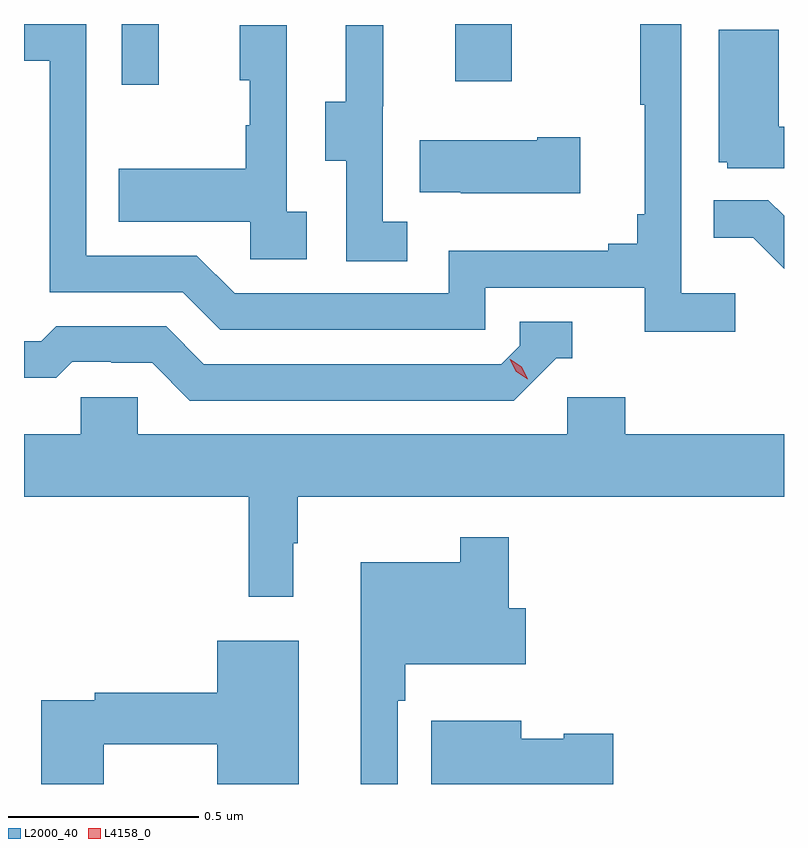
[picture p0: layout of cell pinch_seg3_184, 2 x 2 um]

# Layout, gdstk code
import gdstk
lib = gdstk.Library(unit=1e-6, precision=1e-09)
def R(c, l, rs):  # rectangles x0, y0, x1, y1
    for r in rs: c.add(gdstk.rectangle(r[:2], r[2:], *l))
def P(c, l, *ps):  # polygons
    for p in ps: c.add(gdstk.Polygon(p, *l))
L2000_40 = (2000, 40)
L4158_0 = (4158, 0)

pinch_seg3_184 = lib.new_cell('pinch_seg3_184')
R(pinch_seg3_184, L2000_40, [(995.607,741.96,995.705,742.12), (996.485,741.969,996.633,742.12)])
P(pinch_seg3_184, L2000_40, [(997.222,741.412),(997.08,741.412),(997.08,742.12),(996.972,742.12),(996.972,741.907),(996.983,741.907),(996.983,741.619),(996.964,741.619),(996.964,741.542),(996.887,741.542),(996.887,741.523),(996.468,741.523),(996.468,741.411),(995.904,741.411),(995.805,741.51),(995.514,741.51),(995.514,742.119),(995.35,742.119),(995.35,742.023),(995.418,742.023),(995.418,741.414),(995.768,741.414),(995.867,741.315),(996.564,741.315),(996.564,741.426),(996.983,741.426),(996.983,741.31),(997.222,741.31)],
  [(996.358,741.599),(996.294,741.599),(996.294,741.903),(996.296,741.903),(996.296,742.117),(996.197,742.117),(996.197,741.915),(996.143,741.915),(996.143,741.76),(996.198,741.76),(996.198,741.496),(996.358,741.496)],
  [(996.094,741.626),(996.042,741.626),(996.042,742.117),(995.918,742.117),(995.918,741.972),(995.944,741.972),(995.944,741.854),(995.934,741.854),(995.934,741.739),(995.599,741.739),(995.599,741.599),(995.946,741.599),(995.946,741.501),(996.094,741.501)],
  [(997.35,741.85),(997.336,741.85),(997.336,742.105),(997.178,742.105),(997.178,741.756),(997.2,741.756),(997.2,741.741),(997.35,741.741)],
  [(996.814,741.822),(996.701,741.822),(996.701,741.814),(996.391,741.814),(996.391,741.677),(996.499,741.677),(996.499,741.674),(996.814,741.674)],
  [(997.35,741.615),(997.309,741.656),(997.165,741.656),(997.165,741.557),(997.269,741.557),(997.35,741.476)],
  [(996.75,741.24),(996.793,741.24),(996.793,741.336),(996.654,741.336),(996.654,741.273),(996.606,741.225),(995.823,741.225),(995.724,741.324),(995.435,741.324),(995.396,741.285),(995.35,741.285),(995.35,741.189),(995.435,741.189),(995.477,741.231),(995.58,741.231),(995.58,741.228),(995.687,741.228),(995.786,741.129),(996.639,741.129)],
  [(996.058,740.753),(996.07,740.753),(996.07,740.876),(997.35,740.876),(997.35,741.04),(996.932,741.04),(996.932,741.138),(996.78,741.138),(996.78,741.04),(995.649,741.04),(995.649,741.138),(995.499,741.138),(995.499,741.04),(995.35,741.04),(995.35,740.876),(995.941,740.876),(995.941,740.613),(996.058,740.613)],
  [(996.333,740.339),(996.353,740.339),(996.353,740.435),(996.67,740.435),(996.67,740.583),(996.626,740.583),(996.626,740.77),(996.498,740.77),(996.498,740.704),(996.236,740.704),(996.236,740.12),(996.333,740.12)],
  [(995.56,740.224),(995.858,740.224),(995.858,740.12),(996.073,740.12),(996.073,740.497),(995.858,740.497),(995.858,740.36),(995.536,740.36),(995.536,740.34),(995.395,740.34),(995.395,740.12),(995.56,740.12)],
  [(996.901,740.252),(996.771,740.252),(996.771,740.239),(996.658,740.239),(996.658,740.287),(996.422,740.287),(996.422,740.12),(996.901,740.12)])
P(pinch_seg3_184, L4158_0, [(996.676,741.185),(996.645,741.205),(996.628,741.238),(996.628,741.238),(996.629,741.238),(996.66,741.218),(996.676,741.186),(996.676,741.185)])

lib.write_gds('pinch_seg3_184.gds')
